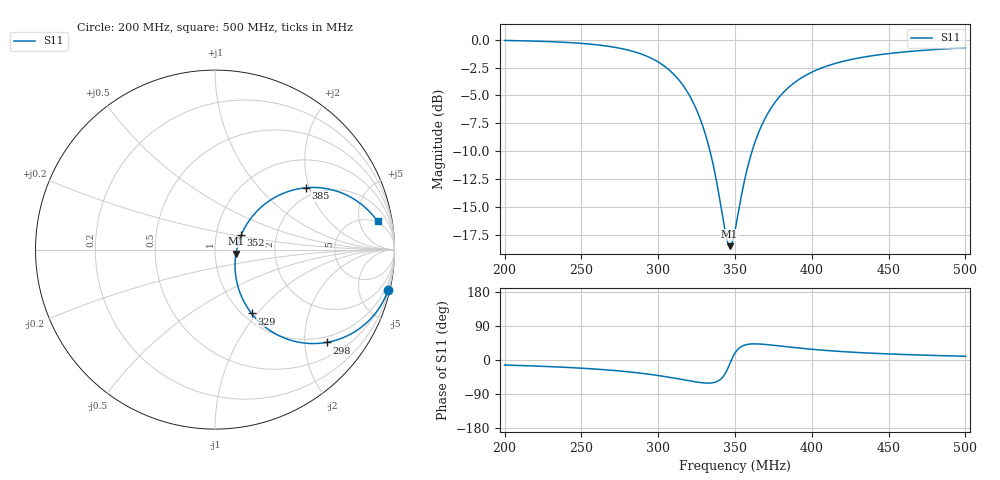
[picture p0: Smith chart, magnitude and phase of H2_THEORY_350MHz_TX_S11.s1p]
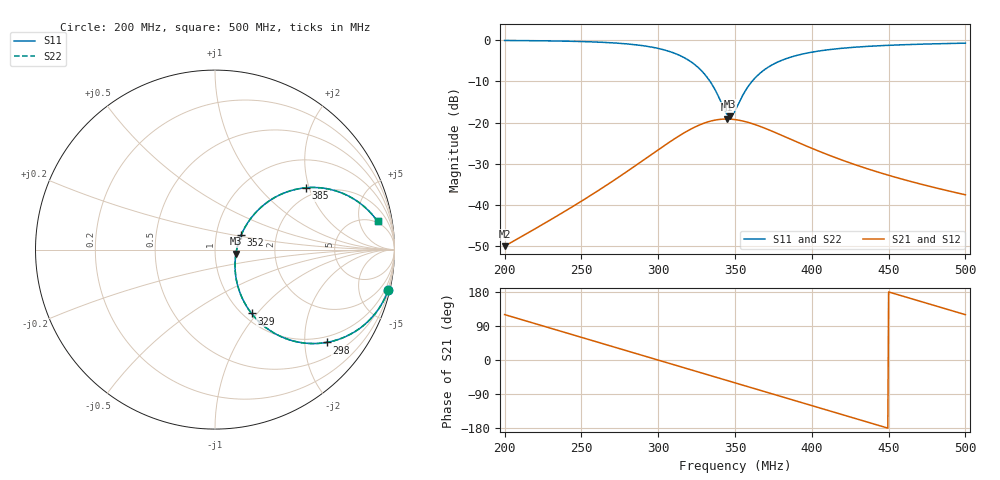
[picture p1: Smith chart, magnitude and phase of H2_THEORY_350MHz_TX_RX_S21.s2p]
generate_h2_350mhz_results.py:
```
"""Generate the H2 350 MHz theory/openEMS comparison without running openEMS."""
import hashlib
import json
from pathlib import Path
import re
import resource
import shutil
import sys
import time

import numpy as np

ROOT = Path(__file__).resolve().parents[2]
sys.path.insert(0, str(ROOT / "python"))
from streamer_rf.fullwave.receiver import (  # noqa: E402
    read_touchstone,
    receiver_validation_status,
    validate_exact_frequency_grid,
)

RAW = Path("/tmp/h2_openems_validation/development_350mhz")
THEORY_NAMES = (
    "H2_THEORY_350MHz_RX_S11.s1p",
    "H2_THEORY_350MHz_TX_S11.s1p",
    "H2_THEORY_350MHz_TX_RX_S21.s2p",
    "H2_THEORY_350MHz_reference.csv",
    "H2_THEORY_350MHz_metadata.json",
)


def write_json(path, value):
    path.write_text(json.dumps(value, indent=2, allow_nan=False) + "\n")


def locate(name):
    for candidate in (ROOT / name, ROOT / "fullwave/h2/theory_inputs" / name, Path("/tmp") / name):
        if candidate.exists():
            return candidate
    return None


def runtime_stats():
    text = Path("/tmp/h2_openems_validation/development_350mhz.log").read_text()
    cells = re.search(r"Time for\s+(\d+) iterations with\s+([0-9.]+) cells", text)
    dt = re.search(r"FDTD timestep is:\s+([0-9.e+-]+) s", text)
    if not cells or not dt:
        raise ValueError("INCOMPLETE_OPENEMS_LOG")
    return {"actual_timesteps": int(cells.group(1)), "actual_FDTD_cells": int(float(cells.group(2))),
            "actual_FDTD_timestep_s": float(dt.group(1))}


def finite_complex(values, label):
    if np.any(~np.isfinite(values)):
        raise ValueError(f"NONFINITE_{label}")


def impedance_from_s11(s11, z0):
    denominator = 1.0 - s11
    if np.any(np.abs(denominator) <= np.finfo(float).eps):
        raise ValueError("S11_IMPEDANCE_SINGULAR")
    return z0 * (1.0 + s11) / denominator


def db(values):
    return 20.0 * np.log10(np.maximum(np.abs(values), np.finfo(float).tiny))


def validate_metadata(metadata):
    expected = {
        "status": "THEORETICAL_SURROGATE_ONLY",
        "frequency_start_Hz": 200e6,
        "frequency_stop_Hz": 500e6,
        "points": 601,
        "frequency_step_Hz": 0.5e6,
        "center_frequency_Hz": 350e6,
        "reference_impedance_ohm": 50.0,
    }
    for key, value in expected.items():
        if metadata.get(key) != value:
            raise ValueError(f"THEORY_METADATA_MISMATCH_{key}")
    if receiver_validation_status(metadata["status"]) != "SIMULATION_ONLY":
        raise ValueError("THEORY_PROVENANCE_ESCALATION")


def validate_reference_csv(path, frequency, s11, s21, z0):
    reference = np.genfromtxt(path, delimiter=",", names=True)
    required = {
        "frequency_Hz", "Zin_real_ohm", "Zin_imag_ohm", "S11_real", "S11_imag",
        "S11_dB", "S21_real", "S21_imag", "S21_dB", "S21_phase_deg",
    }
    if not required.issubset(reference.dtype.names or ()):
        raise ValueError("INCOMPLETE_THEORY_REFERENCE_CSV")
    validate_exact_frequency_grid(reference["frequency_Hz"], 200e6, 500e6, 601)
    for name in required:
        if np.any(~np.isfinite(reference[name])):
            raise ValueError(f"NONFINITE_THEORY_REFERENCE_{name}")
    csv_s11 = reference["S11_real"] + 1j * reference["S11_imag"]
    csv_s21 = reference["S21_real"] + 1j * reference["S21_imag"]
    csv_zin = reference["Zin_real_ohm"] + 1j * reference["Zin_imag_ohm"]
    if not np.allclose(reference["frequency_Hz"], frequency, rtol=0, atol=1e-6):
        raise ValueError("THEORY_CSV_FREQUENCY_MISMATCH")
    if not np.allclose(csv_s11, s11, rtol=2e-8, atol=2e-9):
        raise ValueError("THEORY_CSV_S11_MISMATCH")
    if not np.allclose(csv_s21, s21, rtol=2e-8, atol=2e-9):
        raise ValueError("THEORY_CSV_S21_MISMATCH")
    if not np.allclose(csv_zin, impedance_from_s11(s11, z0), rtol=2e-8, atol=2e-6):
        raise ValueError("THEORY_CSV_ZIN_MISMATCH")
    return reference


def main():
    started = time.perf_counter()
    out = Path(__file__).parent
    result = json.loads((RAW / "result.json").read_text())
    result.update(runtime_stats())
    found = {name: locate(name) for name in THEORY_NAMES}
    missing = [name for name, path in found.items() if path is None]
    theory_status = "MISSING_REQUIRED_FILES" if missing else "AVAILABLE_PENDING_VALIDATION"
    theory = {"status": theory_status, "required_files": list(THEORY_NAMES), "missing_files": missing,
              "required_provenance": "THEORETICAL_SURROGATE_ONLY", "VNA_gate_satisfied": False}
    comparisons = None
    if not missing:
        metadata = json.loads(found["H2_THEORY_350MHz_metadata.json"].read_text())
        validate_metadata(metadata)
        parsed = {name: read_touchstone(path) for name, path in found.items() if path.suffix.lower() in (".s1p", ".s2p")}
        for data in parsed.values():
            validate_exact_frequency_grid(data.frequency_Hz, 200e6, 500e6, 601)
            if data.Z0_ohm != 50:
                raise ValueError("THEORY_REFERENCE_IMPEDANCE_MISMATCH")
            for name, values in data.parameters.items():
                finite_complex(values, f"THEORY_{name}")
        theory.update({"status": "VALID_THEORETICAL_SURROGATE", "metadata": metadata,
                       "validation_status": receiver_validation_status(metadata["status"]),
                       "VNA_gate_satisfied": False})
        numeric = np.genfromtxt(RAW / "sparameters.csv", delimiter=",", names=True)
        validate_exact_frequency_grid(numeric["frequency_Hz"], 200e6, 500e6, 601)
        rx = parsed["H2_THEORY_350MHz_RX_S11.s1p"]
        tx = parsed["H2_THEORY_350MHz_TX_S11.s1p"]
        pair = parsed["H2_THEORY_350MHz_TX_RX_S21.s2p"]
        if not np.allclose(rx.parameters["S11"], tx.parameters["S11"], rtol=0, atol=1e-14):
            raise ValueError("THEORY_TX_RX_S11_MISMATCH")
        if not np.allclose(pair.parameters["S11"], tx.parameters["S11"], rtol=0, atol=1e-14):
            raise ValueError("THEORY_S2P_S11_ORDERING_MISMATCH")
        if not np.allclose(pair.parameters["S22"], rx.parameters["S11"], rtol=0, atol=1e-14):
            raise ValueError("THEORY_S2P_S22_ORDERING_MISMATCH")
        s11_openems = numeric["S11_real"] + 1j * numeric["S11_imag"]
        s21_openems = numeric["S21_real"] + 1j * numeric["S21_imag"]
        s11_theory = tx.parameters["S11"]
        s21_theory = pair.parameters["S21"]
        finite_complex(s11_openems, "OPENEMS_S11")
        finite_complex(s21_openems, "OPENEMS_S21")
        validate_reference_csv(found["H2_THEORY_350MHz_reference.csv"], tx.frequency_Hz,
                               s11_theory, s21_theory, tx.Z0_ohm)
        idx = int(np.flatnonzero(tx.frequency_Hz == 350e6)[0])
        theory_feature_idx = int(np.argmin(abs(s11_theory)))
        openems_feature_idx = int(np.argmin(abs(s11_openems)))
        zin_theory = impedance_from_s11(s11_theory, tx.Z0_ohm)
        zin_openems = impedance_from_s11(s11_openems, tx.Z0_ohm)
        feature_mismatch_Hz = float(numeric["frequency_Hz"][openems_feature_idx] - tx.frequency_Hz[theory_feature_idx])
        corr11 = float(np.corrcoef(abs(s11_theory), abs(s11_openems))[0, 1])
        corr21 = float(np.corrcoef(abs(s21_theory), abs(s21_openems))[0, 1])
        comparisons = {
            "theory_S11_feature_frequency_Hz": float(tx.frequency_Hz[theory_feature_idx]),
            "openems_S11_feature_frequency_Hz": float(numeric["frequency_Hz"][openems_feature_idx]),
            "feature_frequency_signed_mismatch_Hz": feature_mismatch_Hz,
            "feature_frequency_absolute_mismatch_Hz": abs(feature_mismatch_Hz),
            "feature_frequency_relative_mismatch": abs(feature_mismatch_Hz) / float(tx.frequency_Hz[theory_feature_idx]),
            "theory_minimum_S11_dB": float(db(s11_theory)[theory_feature_idx]),
            "openems_minimum_S11_dB": float(db(s11_openems)[openems_feature_idx]),
            "theory_S11_at_350MHz": [float(s11_theory[idx].real), float(s11_theory[idx].imag)],
            "openems_S11_at_350MHz": [float(s11_openems[idx].real), float(s11_openems[idx].imag)],
            "theory_S11_dB_at_350MHz": float(db(s11_theory)[idx]),
            "openems_S11_dB_at_350MHz": float(db(s11_openems)[idx]),
            "theory_Zin_ohm_at_350MHz": [float(zin_theory[idx].real), float(zin_theory[idx].imag)],
            "openems_Zin_ohm_at_350MHz": [float(zin_openems[idx].real), float(zin_openems[idx].imag)],
            "Zin_complex_difference_openems_minus_theory_ohm": [
                float((zin_openems[idx] - zin_theory[idx]).real),
                float((zin_openems[idx] - zin_theory[idx]).imag),
            ],
            "Zin_absolute_difference_ohm": float(abs(zin_openems[idx] - zin_theory[idx])),
            "S11_magnitude_correlation": corr11,
            "S11_dB_signed_difference_openems_minus_theory_at_350MHz": float(db(s11_openems)[idx] - db(s11_theory)[idx]),
            "S11_dB_absolute_difference_at_350MHz": float(abs(db(s11_openems)[idx] - db(s11_theory)[idx])),
            "theory_S21_at_350MHz": [float(s21_theory[idx].real), float(s21_theory[idx].imag)],
            "openems_S21_at_350MHz": [float(s21_openems[idx].real), float(s21_openems[idx].imag)],
            "theory_S21_dB_at_350MHz": float(db(s21_theory)[idx]),
            "openems_S21_dB_at_350MHz": float(db(s21_openems)[idx]),
            "S21_magnitude_correlation": corr21,
            "S21_dB_signed_difference_openems_minus_theory_at_350MHz": float(db(s21_openems)[idx] - db(s21_theory)[idx]),
            "S21_dB_absolute_difference_at_350MHz": float(abs(db(s21_openems)[idx] - db(s21_theory)[idx])),
            "principal_spectral_trend": "NUMERIC_MAGNITUDE_CORRELATION_REPORTED_WITHOUT_AMPLITUDE_SCALING",
            "phase_status": "THEORY_PHASE_MODEL_LIMITED_TO_FREE_SPACE_PROPAGATION",
            "wire_radius_status": "OPENEMS_THIN_WIRE_RADIUS_NOT_IDENTICAL_TO_THEORY",
        }
        table = np.column_stack((
            tx.frequency_Hz,
            s11_theory.real, s11_theory.imag, db(s11_theory),
            s11_openems.real, s11_openems.imag, db(s11_openems),
            zin_theory.real, zin_theory.imag, zin_openems.real, zin_openems.imag,
            s21_theory.real, s21_theory.imag, db(s21_theory),
            s21_openems.real, s21_openems.imag, db(s21_openems),
        ))
        np.savetxt(out / "h2_theory_openems_comparison.csv", table, delimiter=",", fmt="%.12e",
                   header=("frequency_Hz,theory_S11_real,theory_S11_imag,theory_S11_dB,"
                           "openems_S11_real,openems_S11_imag,openems_S11_dB,"
                           "theory_Zin_real_ohm,theory_Zin_imag_ohm,openems_Zin_real_ohm,openems_Zin_imag_ohm,"
                           "theory_S21_real,theory_S21_imag,theory_S21_dB,"
                           "openems_S21_real,openems_S21_imag,openems_S21_dB"), comments="")
        write_json(out / "h2_theory_surrogate_summary.json", {
            "data_provenance": metadata["status"],
            "theory_input_status": theory["status"],
            "VNA_gate_satisfied": False,
            "comparison": comparisons,
            "H2_DEVELOPMENT_GATE": "PASS",
            "H2_SCIENTIFIC_VALIDATION": "VNA_MEASUREMENT_PENDING",
            "H3_TOOL_DEVELOPMENT_ALLOWED": True,
            "STAGE_H_EXPERIMENTAL_VALIDATION_PENDING": True,
            "production_receiver_status": "NOT_RESOLVED",
        })
    write_json(out / "h2_350mhz_theory_manifest.json", theory)

    shutil.copyfile(RAW / "sparameters.csv", out / "h2_350mhz_openems_sparameters.csv")
    shutil.copyfile(RAW / "nf2ff_cut.csv", out / "h2_350mhz_openems_nf2ff_cut.csv")
    geometry = {key: result[key] for key in (
        "case", "scientific_role", "dipole_total_length_m", "dipole_arm_length_m",
        "theory_wire_radius_m", "openems_wire_model", "wire_radius_status",
        "tx_rx_center_separation_m", "orientation", "environment", "Z0_ohm",
        "frequency_start_Hz", "frequency_stop_Hz", "frequency_spacing_Hz", "frequency_points",
    )}
    write_json(out / "h2_350mhz_geometry.json", geometry)

    stage4 = [2941408508.9091916, 7966314711.629051]
    stage5 = [3047273105.1868486, 10233758844.919172]
    correction = {
        "SYSTEM_TRANSMISSION_TARGET_CENTER_Hz": 350e6,
        "SYSTEM_TRANSMISSION_MAX_Hz": 500e6,
        "H3_SYSTEM_FULLWAVE_DEVELOPMENT_BAND": {
            "low_Hz": 200e6, "high_Hz": 500e6,
            "status": "PROJECT_TARGET_BAND_FOR_TOOL_DEVELOPMENT",
        },
        "legacy_reference": {
            "role": "H2_LEGACY_INFRASTRUCTURE_REFERENCE",
            "frequency_Hz": [0.7e9, 1.3e9], "dipole_length_m": 0.15,
            "runner_sha256": "7b0131bea5787cc1e1e793406982feb2b9e94081e278d1feddde16c9c4b40453",
            "raw_results_modified": False,
        },
        "Stage_F_native_bands": {"Stage4": stage4, "Stage5": stage5,
                                  "role": "H4_NATIVE_RF_PHYSICS"},
        "G3_spectrum_policy": "FROZEN_NOT_REINTERPRETED_BY_500_MHZ_SYSTEM_TARGET",
    }
    write_json(out / "h2_frequency_correction.json", correction)
    write_json(out / "h2_350mhz_future_vna_contract.json", {
        "status": "VNA_MEASUREMENT_PENDING",
        "required_files": ["RX_S11.s1p", "TX_S11.s1p", "TX_RX_S21.s2p"],
        "frequency_start_Hz": 200e6,
        "frequency_stop_Hz": 500e6,
        "frequency_points": 601,
        "frequency_spacing_Hz": 0.5e6,
        "Z0_ohm": 50.0,
        "parser": "streamer_rf.fullwave.receiver.read_touchstone",
        "comparison_API_unchanged": True,
        "replaceable_fields": ["data_values", "geometry_metadata", "provenance", "validation_status"],
        "calibration_metadata_required": True,
    })
    summary = {
        "H2_DEVELOPMENT_GATE": "MINIMAL_FIX_REQUIRED_MISSING_THEORY_FILES" if missing else "PASS",
        "H2_SCIENTIFIC_VALIDATION": "VNA_MEASUREMENT_PENDING",
        "H3_TOOL_DEVELOPMENT_ALLOWED": not missing,
        "STAGE_H_EXPERIMENTAL_VALIDATION_PENDING": True,
        "production_receiver_status": "NOT_RESOLVED",
        "theory_input_status": theory["status"],
        "theory_openems_comparison": comparisons,
        "openems": result,
        "resource": {"runtime_s": result["runtime_s"], "peak_RSS_KiB": result["peak_RSS_KiB"],
                     "raw_bytes": result["raw_bytes"], "generation_runtime_s": time.perf_counter() - started,
                     "generation_peak_RSS_KiB": resource.getrusage(resource.RUSAGE_SELF).ru_maxrss},
        "G3_waveform_injected": False,
    }
    write_json(out / "h2_350mhz_summary.json", summary)


if __name__ == "__main__":
    main()
```
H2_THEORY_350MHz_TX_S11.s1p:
! THEORETICAL_SURROGATE_ONLY - NOT VNA MEASUREMENT
! 350 MHz-centered 0.48-lambda center-fed dipole theory surrogate
! total length=0.411143942 m; each arm=0.205571971 m; assumed wire radius=0.001000 m
! 601 points, 200-500 MHz, 50-ohm reference
# Hz S RI R 50
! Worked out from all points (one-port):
!   601 points, 200 MHz to 500 MHz, reference 50 ohm
!   lowest |S11| = -18.5 dB at 346.5 MHz (marker M1), VSWR 1.27, Z = 63.1 - j2.94 ohm
!   |S11| at or under -10 dB: 333.7 MHz to 361.1 MHz (27.35 MHz wide, 7.87 % of centre)
!   S11 on the Smith chart (normalised r, x): 200 MHz: 0.33, -8.62; 298 MHz: 0.84, -2.52; 329 MHz: 1.09, -0.94; 352 MHz: 1.32, +0.22; 385 MHz: 1.72, +1.90; 500 MHz: 5, +9
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2e8  0.965 -0.2266
2.61e8  0.8613 -0.3916
2.98e8  0.6213 -0.5172
3e8  0.5994 -0.5204
3.155e8  0.3939 -0.4956
3.29e8  0.2038 -0.3558
3.465e8  0.1165 -0.023
3.52e8  0.1454 0.0798
3.585e8  0.2047 0.1807
3.655e8  0.2851 0.2593
3.85e8  0.5054 0.3444
4e8  0.6297 0.3381
4.395e8  0.8062 0.2596
5e8  0.9055 0.1576
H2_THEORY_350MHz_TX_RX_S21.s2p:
! THEORETICAL_SURROGATE_ONLY - NOT VNA MEASUREMENT
! Ideal free-space 1.0 m broadside, co-polarized identical 350 MHz-centered dipoles
! S21 magnitude from Friis + dipole directivity + 50-ohm mismatch; phase=-kR only
! 601 points, 200-500 MHz, 50-ohm reference
# Hz S RI R 50
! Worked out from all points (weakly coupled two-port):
!   601 points, 200 MHz to 500 MHz, reference 50 ohm
!   highest |S21| = -19.13 dB at 344.5 MHz (marker M1); lowest = -50.0 dB at 200 MHz (marker M2)
!   lowest |S11| = -18.5 dB at 346.5 MHz (marker M3), VSWR 1.27, Z = 63.1 - j2.94 ohm
!   |S11| at or under -10 dB: 333.7 MHz to 361.1 MHz (27.35 MHz wide, 7.87 % of centre)
!   |S22| runs from -18.5 to -0.1 dB; largest |S21 - S12| = 0
!   S11 on the Smith chart (normalised r, x): 200 MHz: 0.33, -8.62; 298 MHz: 0.84, -2.52; 329 MHz: 1.09, -0.94; 352 MHz: 1.32, +0.22; 385 MHz: 1.72, +1.90; 500 MHz: 5, +9
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2e8  0.965 -0.2266  -0.00158 0.00276  -0.00158 0.00276  0.965 -0.2266
2.98e8  0.6213 -0.5172  0.0441 0.00166  0.0441 0.00166  0.6213 -0.5172
3.29e8  0.2038 -0.3558  0.0796 -0.0559  0.0796 -0.0559  0.2038 -0.3558
3.445e8  0.1124 -0.0629  0.0655 -0.0891  0.0655 -0.0891  0.1124 -0.0629
3.465e8  0.1165 -0.023  0.0616 -0.0916  0.0616 -0.0916  0.1165 -0.023
3.5e8  0.1322 0.044  0.0539 -0.0945  0.0539 -0.0945  0.1322 0.044
3.52e8  0.1454 0.0798  0.0493 -0.0955  0.0493 -0.0955  0.1454 0.0798
3.655e8  0.2851 0.2593  0.0176 -0.0895  0.0176 -0.0895  0.2851 0.2593
3.85e8  0.5054 0.3444  -0.0137 -0.0629  -0.0137 -0.0629  0.5054 0.3444
4.29e8  0.7738 0.2817  -0.0277 -0.0128  -0.0277 -0.0128  0.7738 0.2817
5e8  0.9055 0.1576  -0.00659 0.0116  -0.00659 0.0116  0.9055 0.1576
